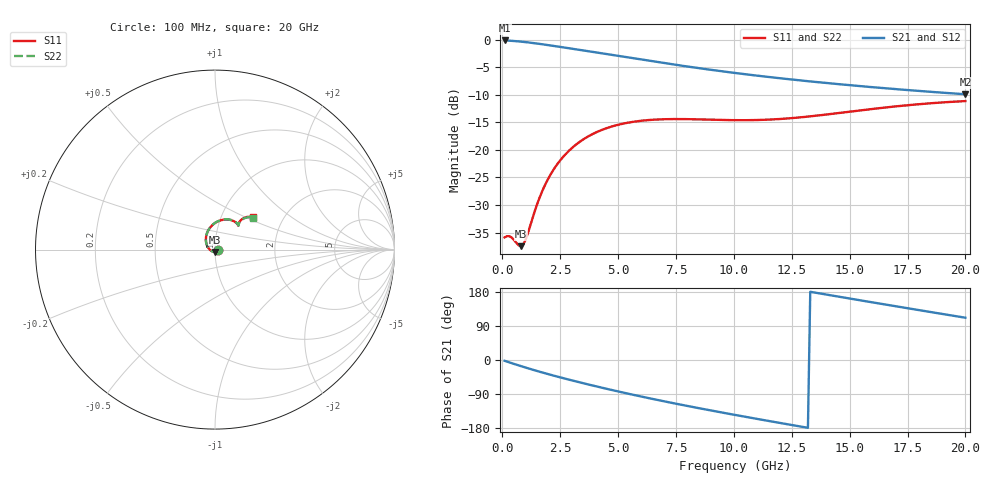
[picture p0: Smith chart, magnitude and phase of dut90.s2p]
! Touchstone file exported from HFSS 2024.1.0
!  File:  C:/UserFiles/LocalFiles/RDL_TSV_Batchsim/temp_RDL_TSV_90_1779416940.aedt
!  Generated:  10:44:02 AM May 22, 2026
!  Design:  RDL_TSV
!  Project:  temp_RDL_TSV_90_1779416940
!  Setup:  Setup1
!  Solution:  Sweep
! Variables:
!  dtsv = 14.04um
!  hbump = 3um
!  htsv = 61.17um
!  ldown = 624.5um
!  lrdl = 493.78um
!  p = 40
!  p1 = 41.52um
!  rhole = 10um
!  subl = 3848.62um
!  t = 450um
!  tdown = 3.93um
!  trdl = 3.51um
!  viad = 10um
!  wdown = 25.24um
!  wrdl = 22.49um
!  xbump = 18um
# GHz S MA R 50.000000
! Terminal data exported
! Port[1] = TM1_1_T1
! Port[2] = TM1_4_T1
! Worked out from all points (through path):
!   200 points, 100 MHz to 20 GHz, reference 50 ohm
!   highest |S21| = -0.15 dB at 100 MHz (marker M1); lowest = -9.9 dB at 20 GHz (marker M2)
!   group delay of S21, straight-line fit = 33 ps
!   lowest |S11| = -37.5 dB at 800 MHz (marker M3), VSWR 1.03, Z = 50 - j1.34 ohm
!   |S11| at or under -10 dB: start of sweep to end of sweep
!   |S22| runs from -37.5 to -11.2 dB; largest |S21 - S12| = 1.3e-14
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0.1  0.0161 -4.3  0.9833 -2.1  0.9833 -2.1  0.0161 -4.3
! Gamma 0 0 0 0
! Port Impedance 50 0 50 0
0.3  0.01651 -19.7  0.9785 -6.2  0.9785 -6.2  0.01651 -19.8
0.8  0.01339 -89.6  0.9602 -16.1  0.9602 -16.1  0.0134 -89.7
0.9  0.01385 -108.7  0.9555 -18.0  0.9555 -18.0  0.01386 -108.8
1  0.01519 -127.0  0.9505 -19.9  0.9505 -19.9  0.01522 -127.1
1.6  0.03644 168.4  0.916 -30.7  0.916 -30.7  0.03654 168.4
1.8  0.04585 157.0  0.9036 -34.2  0.9036 -34.2  0.04598 157.0
2.1  0.06059 143.4  0.8847 -39.3  0.8847 -39.3  0.06076 143.4
2.7  0.08993 123.0  0.847 -49.0  0.847 -49.0  0.0902 123.1
3.5  0.1247 103.1  0.7983 -61.4  0.7983 -61.4  0.1251 103.1
4.2  0.1489 89.5  0.7573 -71.7  0.7573 -71.7  0.1494 89.6
5  0.169 77.1  0.7125 -83.0  0.7125 -83.0  0.1697 77.2
5.9  0.1828 66.2  0.6653 -95.1  0.6653 -95.1  0.1838 66.2
6.8  0.1891 57.9  0.6218 -106.7  0.6218 -106.7  0.1903 57.9
8.4  0.1894 48.9  0.5548 -126.1  0.5548 -126.1  0.1908 48.8
10.1  0.186 45.8  0.4972 -145.5  0.4972 -145.5  0.1876 45.6
11.7  0.1891 46.7  0.4537 -163.0  0.4537 -163.0  0.1905 46.3
13.4  0.2026 48.4  0.416 178.9  0.416 178.9  0.2036 47.8
15.1  0.2234 48.6  0.3848 161.2  0.3848 161.2  0.2239 47.9
16.7  0.2445 46.9  0.36 144.8  0.36 144.8  0.2445 46.3
18.3  0.2629 44.1  0.3388 128.6  0.3388 128.6  0.2625 43.5
20  0.2772 40.6  0.3196 111.6  0.3196 111.6  0.2764 40.0
